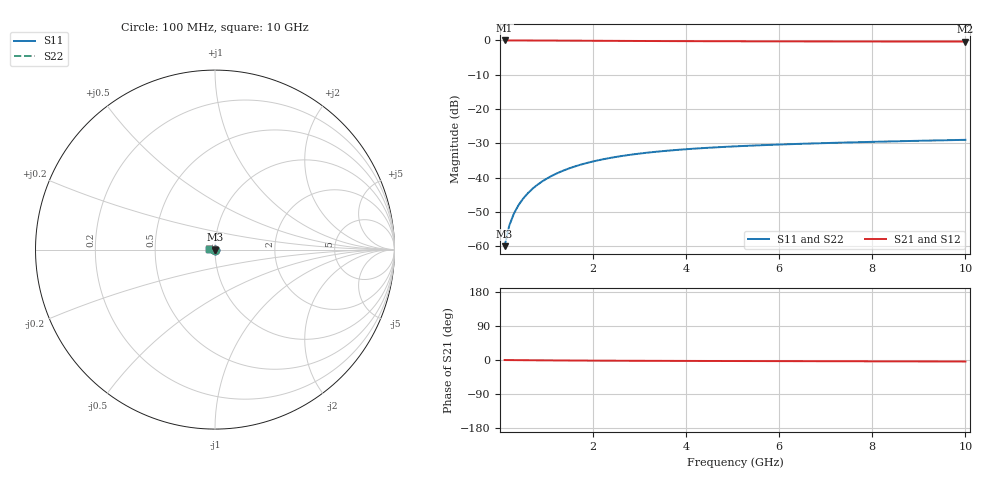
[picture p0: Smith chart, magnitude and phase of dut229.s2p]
! Touchstone file exported from HFSS 2024.1.0
!  File:  C:/UserFiles/LocalFiles/RDL_TSV_Batchsim/temp_TSV1_229_1779388478.aedt
!  Generated:  02:39:47 AM May 22, 2026
!  Design:  TSV1
!  Project:  temp_TSV1_229_1779388478
!  Setup:  Setup1
!  Solution:  Sweep
! Variables:
!  dtsv = 11.86um
!  hbump = 3um
!  htsv = 57.87um
!  lrdl = 252.1521522um
!  p = 40
!  p1 = 57.56um
!  t = 500um
!  trdl = 3um
!  wrdl = 24.89489489um
# GHz S MA R 50.000000
! Terminal data exported
! Port[1] = TSV22_T1
! Port[2] = TSV22_T2
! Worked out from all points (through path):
!   100 points, 100 MHz to 10 GHz, reference 50 ohm
!   highest |S21| = 0.00 dB at 100 MHz (marker M1); lowest = -0.3 dB at 10 GHz (marker M2)
!   lowest |S11| = -60.0 dB at 100 MHz (marker M3), VSWR 1.00, Z = 50 - j0.0999 ohm
!   |S11| at or under -10 dB: start of sweep to end of sweep
!   |S22| runs from -60.0 to -29.0 dB; largest |S21 - S12| = 9.3e-15
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0.1  0.001 -87.3  0.9999 -0.1  0.9999 -0.1  0.001 -87.3
! Gamma 0 0 0 0
! Port Impedance 50 0 50 0
0.2  0.001996 -91.5  0.9998 -0.2  0.9998 -0.2  0.001996 -91.5
0.3  0.002991 -94.3  0.9996 -0.3  0.9996 -0.3  0.002991 -94.3
0.4  0.00398 -96.7  0.9993 -0.4  0.9993 -0.4  0.00398 -96.7
0.5  0.004961 -98.9  0.999 -0.5  0.999 -0.5  0.004961 -98.9
0.6  0.005929 -101.1  0.9986 -0.6  0.9986 -0.6  0.005929 -101.1
0.7  0.006881 -103.2  0.9981 -0.7  0.9981 -0.7  0.006881 -103.2
0.8  0.007816 -105.2  0.9977 -0.8  0.9977 -0.8  0.007816 -105.2
0.9  0.008731 -107.3  0.9971 -0.9  0.9971 -0.9  0.008731 -107.3
1.1  0.01049 -111.2  0.9959 -1.0  0.9959 -1.0  0.01049 -111.2
1.4  0.01296 -116.7  0.9939 -1.3  0.9939 -1.3  0.01296 -116.7
1.6  0.01448 -120.2  0.9924 -1.4  0.9924 -1.4  0.01448 -120.2
1.8  0.01589 -123.6  0.9909 -1.5  0.9909 -1.5  0.01589 -123.6
2.1  0.01782 -128.3  0.9887 -1.7  0.9887 -1.7  0.01782 -128.3
2.5  0.02006 -134.0  0.9858 -1.9  0.9858 -1.9  0.02006 -134.0
2.9  0.02198 -139.3  0.9831 -2.1  0.9831 -2.1  0.02198 -139.3
3.4  0.02398 -145.1  0.98 -2.3  0.98 -2.3  0.02398 -145.1
4.2  0.0265 -153.2  0.9759 -2.5  0.9759 -2.5  0.0265 -153.2
5.1  0.02865 -160.8  0.9724 -2.7  0.9724 -2.7  0.02865 -160.8
6.7  0.03145 -171.7  0.9681 -3.1  0.9681 -3.1  0.03145 -171.7
8.4  0.03371 179.0  0.9651 -3.6  0.9651 -3.6  0.03371 179.0
10  0.03555 171.6  0.9632 -4.0  0.9632 -4.0  0.03555 171.6
